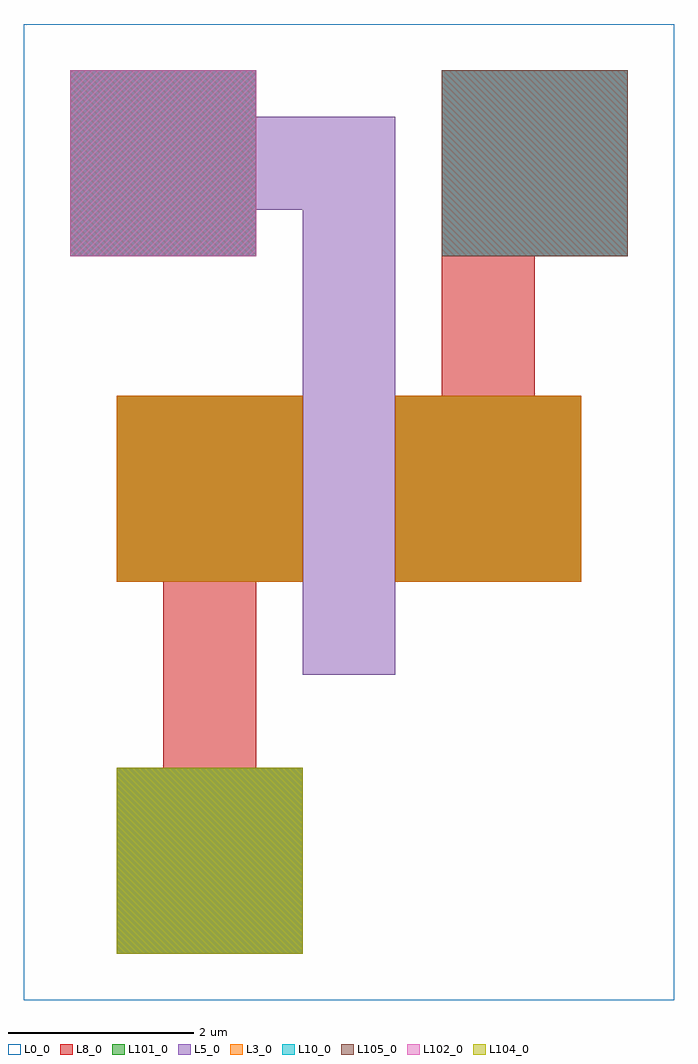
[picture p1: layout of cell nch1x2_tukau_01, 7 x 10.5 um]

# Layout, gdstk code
import gdstk
lib = gdstk.Library(unit=1e-6, precision=1e-09)
def R(c, l, rs):  # rectangles x0, y0, x1, y1
    for r in rs: c.add(gdstk.rectangle(r[:2], r[2:], *l))
def P(c, l, *ps):  # polygons
    for p in ps: c.add(gdstk.Polygon(p, *l))
L0_0 = (0, 0)
L3_0 = (3, 0)
L5_0 = (5, 0)
L8_0 = (8, 0)
L10_0 = (10, 0)
L101_0 = (101, 0)
L102_0 = (102, 0)
L104_0 = (104, 0)
L105_0 = (105, 0)

nch = lib.new_cell('nch')
R(nch, L0_0, [(0,0,1,2)])

nch1x2_tukau_01 = lib.new_cell('nch1x2_tukau_01')
R(nch1x2_tukau_01, L0_0, [(0,0,7,10.5)])
R(nch1x2_tukau_01, L3_0, [(1,4.5,3,6.5), (4,4.5,6,6.5)])
P(nch1x2_tukau_01, L5_0, [(0.5,8),(2.5,8),(2.5,8.5),(3,8.5),(3,3.5),(4,3.5),(4,9.5),(2.5,9.5),(2.5,10),(0.5,10)])
R(nch1x2_tukau_01, L8_0, [(0.5,8,2.5,10)])
P(nch1x2_tukau_01, L8_0, [(4,4.5),(6,4.5),(6,6.5),(5.5,6.5),(5.5,8),(6.5,8),(6.5,10),(4.5,10),(4.5,6.5),(4,6.5)],
  [(1,0.5),(3,0.5),(3,2.5),(2.5,2.5),(2.5,4.5),(3,4.5),(3,6.5),(1,6.5),(1,4.5),(1.5,4.5),(1.5,2.5),(1,2.5)])
R(nch1x2_tukau_01, L10_0, [(0.5,8,2.5,10), (4.5,8,6.5,10)])
R(nch1x2_tukau_01, L101_0, [(1,0.5,3,2.5), (1,4.5,3,6.5), (4,4.5,6,6.5)])
R(nch1x2_tukau_01, L102_0, [(0.5,8,2.5,10)])
R(nch1x2_tukau_01, L104_0, [(1,0.5,3,2.5)])
R(nch1x2_tukau_01, L105_0, [(0.5,8,2.5,10), (4.5,8,6.5,10)])
nch1x2_tukau_01.add(gdstk.Reference(nch, (3,4.5)))

lib.write_gds('nch1x2_tukau_01.gds')
